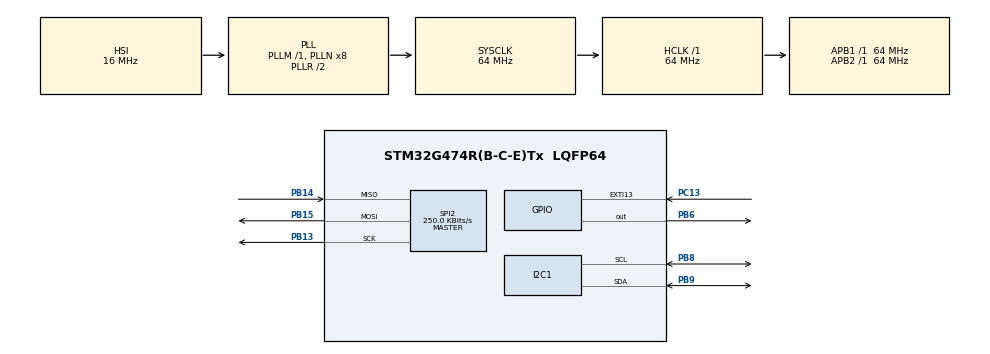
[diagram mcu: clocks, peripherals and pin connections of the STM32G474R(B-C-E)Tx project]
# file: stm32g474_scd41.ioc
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FATFS._USE_LFN=0
I2C1.Timing=0x10B17DB5
Mcu.Family=STM32G4
Mcu.Name=STM32G474R(B-C-E)Tx
Mcu.Package=LQFP64
NUCLEO-G474RE.BUTTON=1
NUCLEO-G474RE.LD2=true
NUCLEO-G474RE.VCP=true
NVIC.EXTI15_10_IRQn=true\:0\:0\:false\:false\:true\:true\:true\:true
NVIC.PriorityGroup=NVIC_PRIORITYGROUP_4
PA13.GPIO_Label=T_SWDIO
PA13.Signal=SYS_JTMS-SWDIO
PA14.GPIO_Label=T_SWCLK
PA14.Signal=SYS_JTCK-SWCLK
PA2.Signal=LPUART1_TX
PA3.Signal=LPUART1_RX
PA5.Signal=SPI1_SCK
PA6.Signal=SPI1_MISO
PA7.Signal=SPI1_MOSI
PB13.Mode=Full_Duplex_Master
PB13.Signal=SPI2_SCK
PB14.Mode=Full_Duplex_Master
PB14.Signal=SPI2_MISO
PB15.Mode=Full_Duplex_Master
PB15.Signal=SPI2_MOSI
PB3.GPIO_Label=T_SWO
PB3.Signal=SYS_JTDO-SWO
PB6.PinState=GPIO_PIN_SET
PB6.Signal=GPIO_Output
PB8-BOOT0.GPIO_Pu=GPIO_PULLUP
PB8-BOOT0.Mode=I2C
PB8-BOOT0.Signal=I2C1_SCL
PB9.GPIO_Pu=GPIO_PULLUP
PB9.Mode=I2C
PB9.Signal=I2C1_SDA
PC13.Signal=GPXTI13
PC14-OSC32_IN.GPIO_Label=RCC_OSC32_IN
PC14-OSC32_IN.Signal=RCC_OSC32_IN
PC15-OSC32_OUT.GPIO_Label=RCC_OSC32_OUT
PC15-OSC32_OUT.Signal=RCC_OSC32_OUT
PF0-OSC_IN.GPIO_Label=RCC_OSC_IN
PF0-OSC_IN.Signal=RCC_OSC_IN
PF1-OSC_OUT.GPIO_Label=RCC_OSC_OUT
PF1-OSC_OUT.Signal=RCC_OSC_OUT
ProjectManager.HeapSize=0x200
ProjectManager.StackSize=0x400
ProjectManager.TargetToolchain=Makefile
RCC.ADC12Freq_Value=64000000
RCC.ADC345Freq_Value=64000000
RCC.AHBFreq_Value=64000000
RCC.APB1Freq_Value=64000000
RCC.APB1TimFreq_Value=64000000
RCC.APB2Freq_Value=64000000
RCC.APB2TimFreq_Value=64000000
RCC.CortexFreq_Value=64000000
RCC.EXTERNAL_CLOCK_VALUE=12288000
RCC.HCLKFreq_Value=64000000
RCC.HSE_VALUE=24000000
RCC.HSI48_VALUE=48000000
RCC.HSI_VALUE=16000000
RCC.LSE_VALUE=32768
RCC.RTCClockSelection=RCC_RTCCLKSOURCE_LSE
RCC.SYSCLKFreq_VALUE=64000000
RCC.SYSCLKSource=RCC_SYSCLKSOURCE_PLLCLK
RCC.USBFreq_Value=64000000
RCC.VCOOutputFreq_Value=128000000
SPI2.BaudRatePrescaler=SPI_BAUDRATEPRESCALER_256
SPI2.CalculateBaudRate=250.0 KBits/s
SPI2.DataSize=SPI_DATASIZE_8BIT
SPI2.Direction=SPI_DIRECTION_2LINES
SPI2.Mode=SPI_MODE_MASTER
SPI2.VirtualType=VM_MASTER
VP_FATFS_VS_Generic.Mode=User_defined
VP_NUCLEO-G474RE_VS_BSP_COMMON.Mode=COMMON
VP_SYS_VS_DBSignals.Mode=DisableDeadBatterySignals
board=NUCLEO-G474RE

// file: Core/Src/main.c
/* USER CODE BEGIN Header */
/**
  ******************************************************************************
  * @file           : main.c
  * @brief          : Main program body
  ******************************************************************************
  * @attention
  *
  * Copyright (c) 2025 STMicroelectronics.
  * All rights reserved.
  *
  * This software is licensed under terms that can be found in the LICENSE file
  * in the root directory of this software component.
  * If no LICENSE file comes with this software, it is provided AS-IS.
  *
  ******************************************************************************
  */
/* USER CODE END Header */
#include "main.h"
#include "app_fatfs.h"
#include "i2c.h"
#include "spi.h"
#include "gpio.h"

/* USER CODE BEGIN Includes */

#include "stdint.h"
#include "stdio.h"
#include "font6x8.h"

/* USER CODE END Includes */

COM_InitTypeDef BspCOMInit;

/* USER CODE BEGIN PV */

volatile uint8_t conditionMet = 0;
uint8_t scd41_addr = 0x62 << 1; //7 bit address shifted left
uint8_t ssd1306_addr = 0x3C << 1; //7 bit address shifted left

uint16_t co2 = 0; //co2 in ppm
float temp; // temp in F
float rh; //rh in %

FATFS   sd_fs;          // FatFs work area
FIL     log_file;       // open file handle
UINT    bw;             // bytes‑written counter

/* USER CODE END PV */

void SystemClock_Config(void);
/* USER CODE BEGIN PFP */

void scd41_start(void);
uint8_t scd41_read(uint16_t *co2, float *temp, float *rh);

void ssd1306_start(void);
void ssd1306_fill(uint8_t pattern);
void ssd1306_print(uint8_t x, uint8_t page, const char *str);

void SD_start(void);
void SD_append(uint32_t ms, uint16_t co2, float t_f, float rh);

/* USER CODE END PFP */

int main(void)
{

  /* MCU Configuration--------------------------------------------------------*/

  /* Reset of all peripherals, Initializes the Flash interface and the Systick. */
  HAL_Init();

  /* Configure the system clock */
  SystemClock_Config();

  /* Initialize all configured peripherals */
  MX_GPIO_Init();
  MX_I2C1_Init();
  if (MX_FATFS_Init() != APP_OK) {
    Error_Handler();
  }
  MX_SPI2_Init();

  /* Initialize led */
  BSP_LED_Init(LED_GREEN);

  /* Initialize USER push-button, will be used to trigger an interrupt each time it's pressed.*/
  BSP_PB_Init(BUTTON_USER, BUTTON_MODE_EXTI);

  /* Initialize COM1 port (115200, 8 bits (7-bit data + 1 stop bit), no parity */
  BspCOMInit.BaudRate   = 115200;
  BspCOMInit.WordLength = COM_WORDLENGTH_8B;
  BspCOMInit.StopBits   = COM_STOPBITS_1;
  BspCOMInit.Parity     = COM_PARITY_NONE;
  BspCOMInit.HwFlowCtl  = COM_HWCONTROL_NONE;
  if (BSP_COM_Init(COM1, &BspCOMInit) != BSP_ERROR_NONE)
  {
    Error_Handler();
  }

  /* Infinite loop */
  /* USER CODE BEGIN WHILE */
  scd41_start();
  ssd1306_start();
  SD_start();
  HAL_Delay(5000);  // warm-up delay

  // init variables for display and writing
  char line[22];

  while (1)
  {
    ssd1306_fill(0x00);  // clear display
    scd41_read(&co2, &temp, &rh);
    uint32_t now_ms = HAL_GetTick();

    SD_append(now_ms, co2, temp, rh);
    sprintf(line, "CO2: %4d ppm", co2);
    ssd1306_print(0, 0, line);

    sprintf(line, "T: %2.1f F", temp);
    ssd1306_print(0, 1, line);

    sprintf(line, "RH: %2.1f %%", rh);
    ssd1306_print(0, 2, line);

    HAL_Delay(5000);

    /* USER CODE END WHILE */

  }
}

void SystemClock_Config(void)
{
  RCC_OscInitTypeDef RCC_OscInitStruct = {0};
  RCC_ClkInitTypeDef RCC_ClkInitStruct = {0};

  /** Configure the main internal regulator output voltage
  */
  HAL_PWREx_ControlVoltageScaling(PWR_REGULATOR_VOLTAGE_SCALE1);

  /** Initializes the RCC Oscillators according to the specified parameters
  * in the RCC_OscInitTypeDef structure.
  */
  RCC_OscInitStruct.OscillatorType = RCC_OSCILLATORTYPE_HSI;
  RCC_OscInitStruct.HSIState = RCC_HSI_ON;
  RCC_OscInitStruct.HSICalibrationValue = RCC_HSICALIBRATION_DEFAULT;
  RCC_OscInitStruct.PLL.PLLState = RCC_PLL_ON;
  RCC_OscInitStruct.PLL.PLLSource = RCC_PLLSOURCE_HSI;
  RCC_OscInitStruct.PLL.PLLM = RCC_PLLM_DIV1;
  RCC_OscInitStruct.PLL.PLLN = 8;
  RCC_OscInitStruct.PLL.PLLP = RCC_PLLP_DIV2;
  RCC_OscInitStruct.PLL.PLLQ = RCC_PLLQ_DIV2;
  RCC_OscInitStruct.PLL.PLLR = RCC_PLLR_DIV2;
  if (HAL_RCC_OscConfig(&RCC_OscInitStruct) != HAL_OK)
  {
    Error_Handler();
  }

  /** Initializes the CPU, AHB and APB buses clocks
  */
  RCC_ClkInitStruct.ClockType = RCC_CLOCKTYPE_HCLK|RCC_CLOCKTYPE_SYSCLK
                              |RCC_CLOCKTYPE_PCLK1|RCC_CLOCKTYPE_PCLK2;
  RCC_ClkInitStruct.SYSCLKSource = RCC_SYSCLKSOURCE_PLLCLK;
  RCC_ClkInitStruct.AHBCLKDivider = RCC_SYSCLK_DIV1;
  RCC_ClkInitStruct.APB1CLKDivider = RCC_HCLK_DIV1;
  RCC_ClkInitStruct.APB2CLKDivider = RCC_HCLK_DIV1;

  if (HAL_RCC_ClockConfig(&RCC_ClkInitStruct, FLASH_LATENCY_2) != HAL_OK)
  {
    Error_Handler();
  }
}

/* USER CODE BEGIN 4 */

//start periodic measurement (command 0x21B1)
void scd41_start(void){
  uint8_t cmd[2] = {0x21, 0xB1}; //split command into 2 bytes
  HAL_I2C_Master_Transmit(&hi2c1, scd41_addr, cmd, 2, HAL_MAX_DELAY);
}

//read measurement (command 0xEC05)
uint8_t scd41_read(uint16_t *co2, float *temp, float *rh){
  uint8_t cmd[2] = {0xEC, 0x05};
  uint8_t rx[9];

  HAL_I2C_Master_Transmit(&hi2c1, scd41_addr, cmd, 2, HAL_MAX_DELAY);
  HAL_Delay(1);

  if (HAL_I2C_Master_Receive(&hi2c1, scd41_addr, rx, 9, HAL_MAX_DELAY) != HAL_OK)
    return 0;

  *co2 = (rx[0] << 8) | rx[1];
  uint16_t temp_raw = (rx[3] << 8) | rx[4];
  float temp_c = -45.0f + 175.0f * ((float)temp_raw / 65535.0f);
  *temp = temp_c * 9.0f / 5.0f + 32.0f;

  uint16_t rh_raw = (rx[6] << 8) | rx[7];
  *rh = 100.0f * ((float)rh_raw / 65535.0f);

  return 1;
}

//initialize ssd1306
void ssd1306_start(void){
  uint8_t cmds[] = { //initialization commands
    0xAE,       // Display OFF
    0xD5, 0x80, // Set display clock divide ratio/oscillator freq
    0xA8, 0x3F, // Set multiplex ratio (1 to 64)
    0xD3, 0x00, // Display offset
    0x40,       // Start line address
    0x8D, 0x14, // Charge pump ON
    0x20, 0x00, // Memory addressing mode: horizontal
    0xA1,       // Segment re-map (mirror horizontally)
    0xC8,       // COM Output Scan Direction
    0xDA, 0x12, // COM pins hardware config
    0x81, 0x7F, // Contrast
    0xD9, 0xF1, // Pre-charge period
    0xDB, 0x40, // VCOMH deselect level
    0xA4,       // Entire display ON resume
    0xA6,       // Normal (not inverted)
    0xAF        // Display ON
  };

    for (uint8_t i = 0; i < sizeof(cmds); i++) {
      HAL_I2C_Mem_Write(&hi2c1, ssd1306_addr, 0x00, 1, &cmds[i], 1, HAL_MAX_DELAY);
    }
}

void ssd1306_fill(uint8_t pattern) {
  uint8_t data[128];
  for (int i = 0; i < 128; i++) data[i] = pattern;

  for (uint8_t page = 0; page < 8; page++) {
    uint8_t set_page[] = {
      0xB0 | page, // Set page (0–7)
      0x00,        // Low column
      0x10         // High column
    };

    for (uint8_t i = 0; i < 3; i++) {
      HAL_I2C_Mem_Write(&hi2c1, ssd1306_addr, 0x00, 1, &set_page[i], 1, HAL_MAX_DELAY);
    }

    // Now send 128 bytes of pixel data
    HAL_I2C_Mem_Write(&hi2c1, ssd1306_addr, 0x40, 1, data, 128, HAL_MAX_DELAY);
  }
}

extern const uint8_t font6x8[];

void ssd1306_draw_char(uint8_t x, uint8_t page, char c) {
  if (c < 32 || c > 127) c = '?';  // fallback
  uint8_t *glyph = (uint8_t *)&font6x8[(c - 32) * 6];
  HAL_I2C_Mem_Write(&hi2c1, ssd1306_addr, 0x00, 1, (uint8_t[]){0xB0 | page, 0x00 | (x & 0x0F), 0x10 | (x >> 4)}, 3, HAL_MAX_DELAY);
  HAL_I2C_Mem_Write(&hi2c1, ssd1306_addr, 0x40, 1, glyph, 6, HAL_MAX_DELAY);
}

void ssd1306_print(uint8_t x, uint8_t page, const char *str) {
  while (*str) {
    ssd1306_draw_char(x, page, *str++);
    x += 6;
  }
}

void SD_start(void)
{
    /* 1. mount the card (auto mount = 1) */
    if (f_mount(&sd_fs, "", 1) != FR_OK)   Error_Handler();

    /* 2. open/append or create */
    if (f_open(&log_file, "log.csv",
               FA_WRITE | FA_OPEN_APPEND) != FR_OK)
        Error_Handler();

    /* 3. if new file, write a header */
    if (f_size(&log_file) == 0) {
        f_write(&log_file, "time_ms,co2,temp_F,rh\r\n", 24, &bw);
        f_sync(&log_file);                 /* flush header to card   */
    }
}

void SD_append(uint32_t ms, uint16_t co2, float t_f, float rh)
{
    char line[48];
    int len = snprintf(line, sizeof(line),
                       "%lu,%u,%.1f,%.1f\r\n",
                       (unsigned long)ms, co2, t_f, rh);

    if (f_write(&log_file, line, len, &bw) != FR_OK)  Error_Handler();
    if (f_sync(&log_file)                      != FR_OK)  Error_Handler();
}

/* USER CODE END 4 */

void Error_Handler(void)
{
  __disable_irq();
  while (1)
  {
  }
}
